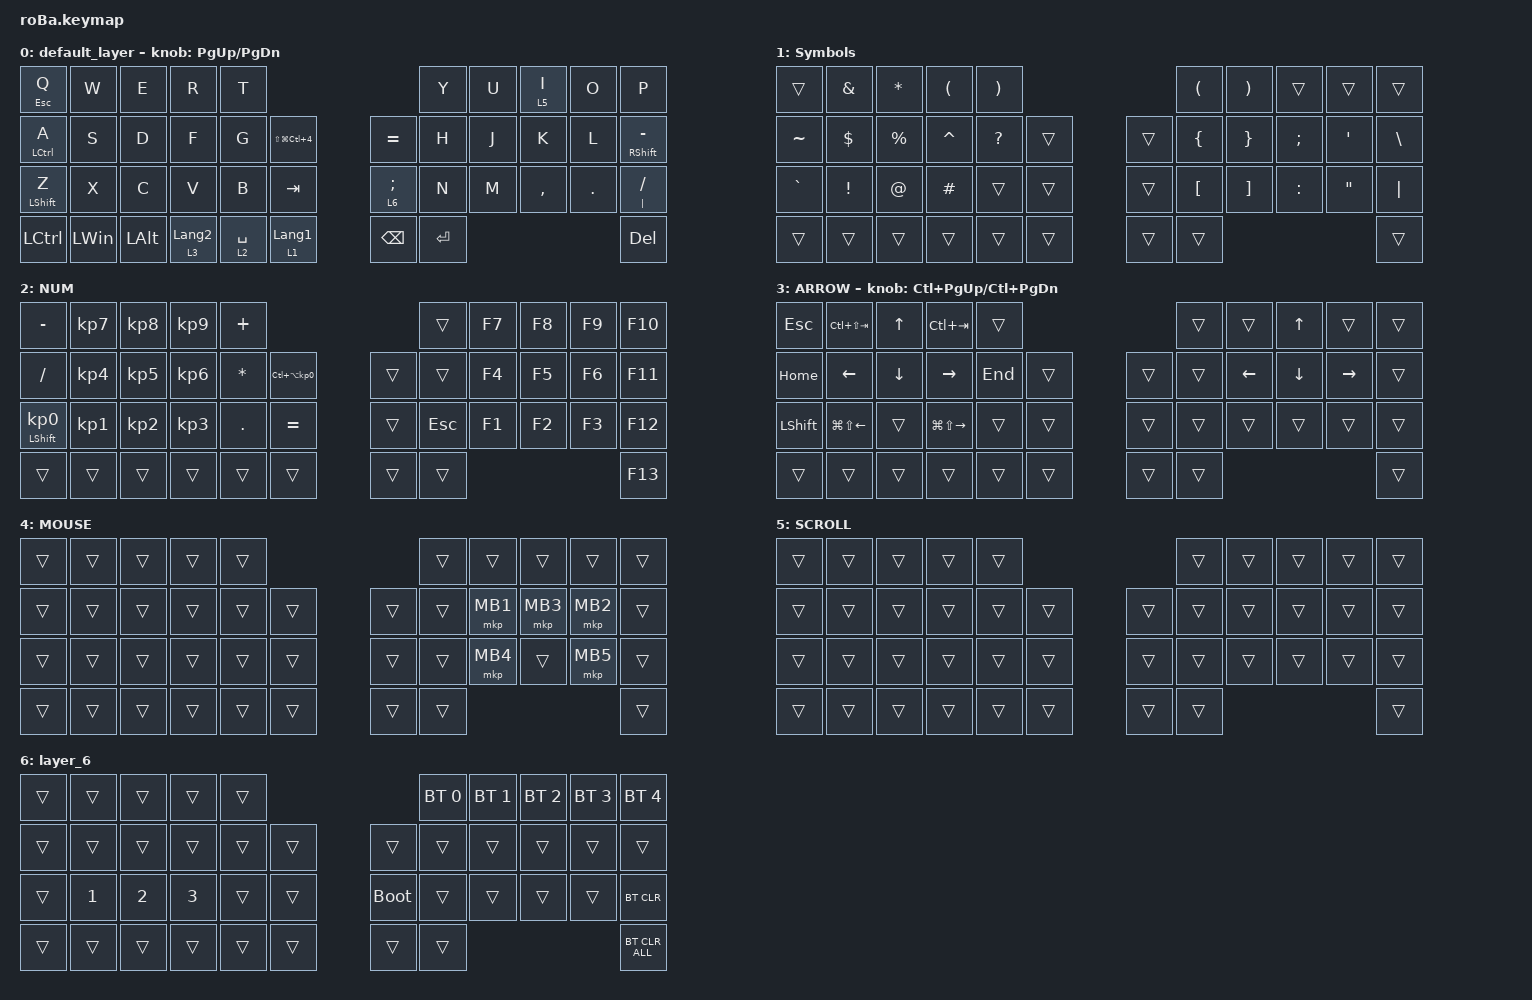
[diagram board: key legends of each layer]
#include <behaviors.dtsi>
#include <dt-bindings/zmk/bt.h>
#include <dt-bindings/zmk/keys.h>
#include <dt-bindings/zmk/pointing.h>

&mt {
    flavor = "balanced";
    quick-tap-ms = <0>;
};

&trackball {
    automouse-layer = <4>;
    scroll-layers = <5>;

    // arrows {
    //     layers = <3>;
    //     bindings =
    //         <&kp RIGHT_ARROW>,
    //         <&kp LEFT_ARROW>,
    //         <&kp UP_ARROW>,
    //         <&kp DOWN_ARROW>;
    //     tick = <10>;
    //     wait-ms = <5>;
    //     tap-ms = <5>;
    // };
};

/ {
    combos {
        compatible = "zmk,combos";

        tab {
            bindings = <&kp TAB>;
            key-positions = <11 12>;
        };

        shift_tab {
            bindings = <&kp LS(TAB)>;
            key-positions = <12 13>;
        };

        muhennkann {
            bindings = <&to_layer_0 INT_MUHENKAN>;
            key-positions = <11 10>;
        };

        double_quotation {
            bindings = <&kp DOUBLE_QUOTES>;
            key-positions = <20 21>;
        };

        eq {
            bindings = <&kp EQUAL>;
            key-positions = <24 25>;
        };
    };

    macros {
        to_layer_0: to_layer_0 {
            compatible = "zmk,behavior-macro-one-param";
            #binding-cells = <1>;
            bindings = <&to 0 &macro_param_1to1 &kp MACRO_PLACEHOLDER>;
            label = "TO_LAYER_0";
        };
    };

    behaviors {
        lt_to_layer_0: lt_to_layer_0 {
            compatible = "zmk,behavior-hold-tap";
            label = "LAYER_TAP_TO_0";
            bindings = <&mo>, <&to_layer_0>;

            #binding-cells = <2>;
            tapping-term-ms = <200>;
        };
    };

    keymap {
        compatible = "zmk,keymap";

        default_layer {
            bindings = <
&mt ESCAPE Q      &kp W         &kp E         &kp R             &kp T                                                                &kp Y      &kp U  &lt 5 I    &kp O    &kp P
&mt LCTRL A       &kp S         &kp D         &kp F             &kp G        &kp LS(LG(LC(N4)))               &kp EQUAL              &kp H      &kp J  &kp K      &kp L    &mt RIGHT_SHIFT MINUS
&mt LEFT_SHIFT Z  &kp X         &kp C         &kp V             &kp B        &kp TAB                          &lt_to_layer_0 6 SEMI  &kp N      &kp M  &kp COMMA  &kp DOT  &mt PIPE SLASH
&kp LCTRL         &kp LEFT_WIN  &kp LEFT_ALT  &lt 3 LANGUAGE_2  &lt 2 SPACE  &lt_to_layer_0 1 LANGUAGE_1      &kp BACKSPACE          &kp ENTER                             &kp DEL
            >;

            sensor-bindings = <&inc_dec_kp PG_UP PAGE_DOWN>;
        };

        Symbols {
            bindings = <
&trans     &kp AMPERSAND    &kp ASTERISK  &kp LEFT_PARENTHESIS  &kp RIGHT_PARENTHESIS                      &kp LEFT_PARENTHESIS  &kp RIGHT_PARENTHESIS  &trans         &trans             &trans
&kp TILDE  &kp DOLLAR       &kp PERCENT   &kp CARET             &kp QUESTION           &trans      &trans  &kp LEFT_BRACE        &kp RIGHT_BRACE        &kp SEMICOLON  &kp SQT            &kp BACKSLASH
&kp GRAVE  &kp EXCLAMATION  &kp AT_SIGN   &kp HASH              &trans                 &trans      &trans  &kp LEFT_BRACKET      &kp RIGHT_BRACKET      &kp COLON      &kp DOUBLE_QUOTES  &kp PIPE
&trans     &trans           &trans        &trans                &trans                 &trans      &trans  &trans                                                                         &trans
            >;
        };

        NUM {
            bindings = <
&kp MINUS                   &kp KP_NUMBER_7  &kp KP_NUMBER_8  &kp KP_NUMBER_9  &kp PLUS                                           &trans      &kp F7  &kp F8  &kp F9  &kp F10
&kp SLASH                   &kp KP_NUMBER_4  &kp KP_NUMBER_5  &kp KP_NUMBER_6  &kp ASTERISK  &kp LC(LA(KP_NUMBER_0))      &trans  &trans      &kp F4  &kp F5  &kp F6  &kp F11
&mt LEFT_SHIFT KP_NUMBER_0  &kp KP_NUMBER_1  &kp KP_NUMBER_2  &kp KP_NUMBER_3  &kp PERIOD    &kp EQUAL                    &trans  &kp ESCAPE  &kp F1  &kp F2  &kp F3  &kp F12
&trans                      &trans           &trans           &trans           &trans        &trans                       &trans  &trans                              &kp F13
            >;
        };

        ARROW {
            bindings = <
&kp ESCAPE      &kp LC(LS(TAB))         &kp UP_ARROW    &kp LC(TAB)              &trans                       &trans  &trans          &kp UP_ARROW    &trans           &trans
&kp HOME        &kp LEFT_ARROW          &kp DOWN_ARROW  &kp RIGHT_ARROW          &kp END  &trans      &trans  &trans  &kp LEFT_ARROW  &kp DOWN_ARROW  &kp RIGHT_ARROW  &trans
&kp LEFT_SHIFT  &kp LG(LS(LEFT_ARROW))  &trans          &kp LG(LS(RIGHT_ARROW))  &trans   &trans      &trans  &trans  &trans          &trans          &trans           &trans
&trans          &trans                  &trans          &trans                   &trans   &trans      &trans  &trans                                                   &trans
            >;

            sensor-bindings = <&inc_dec_kp LC(PAGE_UP) LC(PAGE_DOWN)>;
        };

        MOUSE {
            bindings = <
&trans  &trans  &trans  &trans  &trans                      &trans  &trans    &trans    &trans    &trans
&trans  &trans  &trans  &trans  &trans  &trans      &trans  &trans  &mkp MB1  &mkp MB3  &mkp MB2  &trans
&trans  &trans  &trans  &trans  &trans  &trans      &trans  &trans  &mkp MB4  &trans    &mkp MB5  &trans
&trans  &trans  &trans  &trans  &trans  &trans      &trans  &trans                                &trans
            >;
        };

        SCROLL {
            bindings = <
&trans  &trans  &trans  &trans  &trans                      &trans  &trans  &trans  &trans  &trans
&trans  &trans  &trans  &trans  &trans  &trans      &trans  &trans  &trans  &trans  &trans  &trans
&trans  &trans  &trans  &trans  &trans  &trans      &trans  &trans  &trans  &trans  &trans  &trans
&trans  &trans  &trans  &trans  &trans  &trans      &trans  &trans                          &trans
            >;
        };

        layer_6 {
            bindings = <
&trans  &trans        &trans        &trans        &trans                           &bt BT_SEL 0  &bt BT_SEL 1  &bt BT_SEL 2  &bt BT_SEL 3  &bt BT_SEL 4
&trans  &trans        &trans        &trans        &trans  &trans      &trans       &trans        &trans        &trans        &trans        &trans
&trans  &kp NUMBER_1  &kp NUMBER_2  &kp NUMBER_3  &trans  &trans      &bootloader  &trans        &trans        &trans        &trans        &bt BT_CLR
&trans  &trans        &trans        &trans        &trans  &trans      &trans       &trans                                                  &bt BT_CLR_ALL
            >;
        };
    };
};
